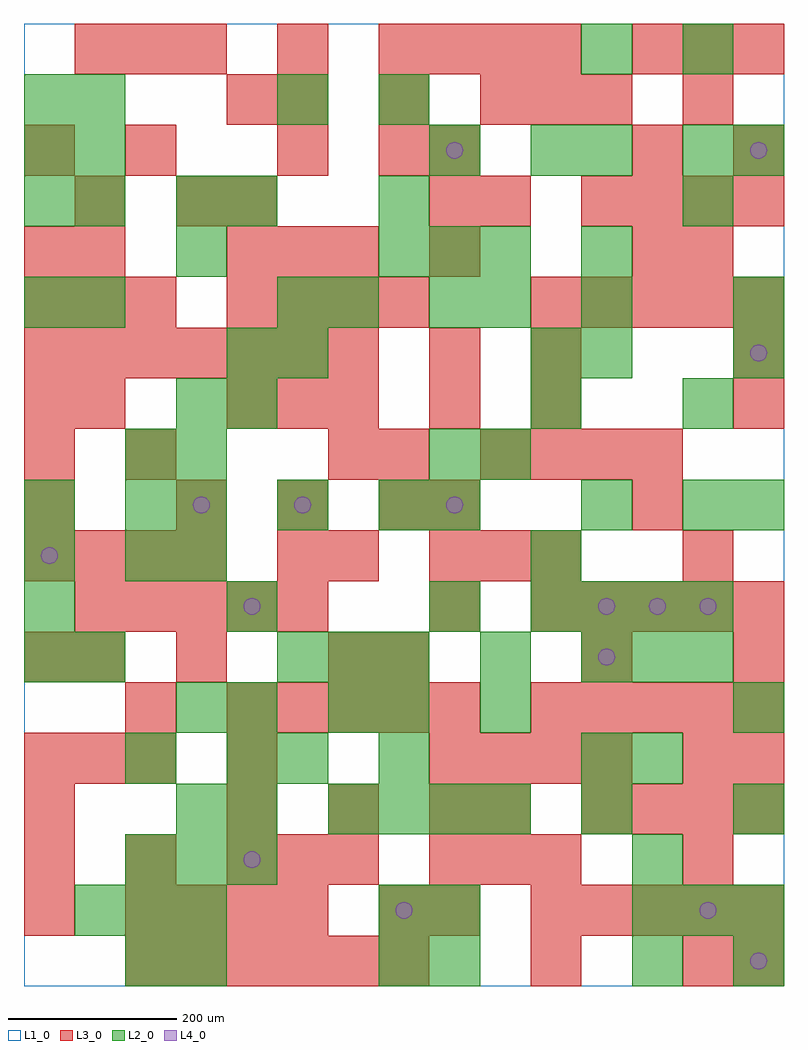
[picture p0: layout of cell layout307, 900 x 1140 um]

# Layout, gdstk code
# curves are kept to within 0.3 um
import gdstk
lib = gdstk.Library(unit=1e-6, precision=1e-09)
def R(c, l, rs):  # rectangles x0, y0, x1, y1
    for r in rs: c.add(gdstk.rectangle(r[:2], r[2:], *l))
def A(c, l, x, y, w, h, nx, ny, dx, dy):  # array of equal rectangles
    R(c, l, [(x+i*dx, y+j*dy, x+i*dx+w, y+j*dy+h) for i in range(nx) for j in range(ny)])
def P(c, l, *ps):  # polygons
    for p in ps: c.add(gdstk.Polygon(p, *l))
L1_0 = (1, 0)
L2_0 = (2, 0)
L3_0 = (3, 0)
L4_0 = (4, 0)

layout307 = lib.new_cell('layout307')
R(layout307, L1_0, [(0,0,900,1140)])
A(layout307, L2_0, 120, 0, 60, 60, 1, 3, 0, 240)
A(layout307, L2_0, 720, 0, 60, 60, 1, 3, 0, 120)
A(layout307, L2_0, 60, 60, 60, 60, 3, 1, 60, 0)
A(layout307, L2_0, 720, 60, 60, 60, 3, 1, 60, 0)
A(layout307, L2_0, 120, 120, 60, 60, 3, 1, 60, 0)
A(layout307, L2_0, 240, 180, 60, 60, 1, 3, 0, 60)
A(layout307, L2_0, 360, 180, 60, 60, 4, 1, 60, 0)
A(layout307, L2_0, 300, 360, 60, 60, 3, 1, 60, 0)
A(layout307, L2_0, 660, 360, 60, 60, 3, 1, 60, 0)
A(layout307, L2_0, 0, 420, 60, 60, 3, 1, 240, 0)
A(layout307, L2_0, 600, 420, 60, 60, 4, 1, 60, 0)
A(layout307, L2_0, 180, 540, 60, 60, 3, 1, 120, 0)
A(layout307, L2_0, 480, 600, 60, 60, 1, 3, 0, 180)
A(layout307, L2_0, 660, 720, 60, 60, 1, 3, 0, 60)
A(layout307, L2_0, 420, 840, 60, 60, 3, 1, 60, 0)
A(layout307, L2_0, 0, 900, 60, 60, 1, 3, 0, 60)
A(layout307, L2_0, 60, 900, 60, 60, 1, 3, 0, 60)
R(layout307, L2_0, [(180,0,240,60), (420,0,480,60), (480,0,540,60), (840,0,900,60), (420,60,480,120), (480,60,540,120), (180,180,240,240), (660,180,720,240), (840,180,900,240), (300,240,360,300), (420,240,480,300), (660,240,720,300), (180,300,240,360), (360,300,420,360), (420,300,480,360), (540,300,600,360), (840,300,900,360), (0,360,60,420), (60,360,120,420), (540,360,600,420), (0,480,60,540), (180,480,240,540), (600,480,660,540), (0,540,60,600), (120,540,180,600), (480,540,540,600), (660,540,720,600), (780,540,840,600), (840,540,900,600), (120,600,180,660), (180,600,240,660), (540,600,600,660), (180,660,240,720), (240,660,300,720), (600,660,660,720), (780,660,840,720), (240,720,300,780), (300,720,360,780), (600,720,660,780), (840,720,900,780), (0,780,60,840), (60,780,120,840), (300,780,360,840), (360,780,420,840), (540,780,600,840), (840,780,900,840), (180,840,240,900), (180,900,240,960), (240,900,300,960), (420,900,480,960), (780,900,840,960), (600,960,660,1020), (660,960,720,1020), (780,960,840,1020), (840,960,900,1020), (300,1020,360,1080), (420,1020,480,1080), (660,1080,720,1140), (780,1080,840,1140)])
A(layout307, L3_0, 120, 0, 60, 60, 6, 1, 60, 0)
A(layout307, L3_0, 780, 0, 60, 60, 1, 3, 0, 120)
A(layout307, L3_0, 120, 60, 60, 60, 4, 1, 60, 0)
A(layout307, L3_0, 600, 60, 60, 60, 5, 2, 60, 240)
A(layout307, L3_0, 0, 120, 60, 60, 3, 1, 120, 0)
A(layout307, L3_0, 480, 120, 60, 60, 3, 2, 60, 360)
A(layout307, L3_0, 0, 180, 60, 60, 1, 3, 0, 180)
A(layout307, L3_0, 240, 180, 60, 60, 3, 1, 120, 0)
A(layout307, L3_0, 660, 180, 60, 60, 4, 2, 60, 720)
A(layout307, L3_0, 0, 240, 60, 60, 3, 2, 60, 540)
A(layout307, L3_0, 480, 240, 60, 60, 4, 1, 60, 0)
A(layout307, L3_0, 240, 300, 60, 60, 5, 1, 60, 0)
A(layout307, L3_0, 360, 360, 60, 60, 1, 3, 0, 120)
A(layout307, L3_0, 60, 420, 60, 60, 5, 1, 60, 0)
A(layout307, L3_0, 480, 420, 60, 60, 1, 3, 0, 120)
A(layout307, L3_0, 600, 420, 60, 60, 5, 2, 60, 360)
A(layout307, L3_0, 0, 480, 60, 60, 4, 1, 60, 0)
A(layout307, L3_0, 180, 540, 60, 60, 3, 1, 120, 0)
A(layout307, L3_0, 540, 600, 60, 60, 4, 1, 60, 0)
A(layout307, L3_0, 240, 660, 60, 60, 3, 2, 60, 180)
A(layout307, L3_0, 0, 720, 60, 60, 7, 1, 60, 0)
A(layout307, L3_0, 240, 780, 60, 60, 4, 1, 60, 0)
A(layout307, L3_0, 480, 840, 60, 60, 1, 3, 0, 60)
A(layout307, L3_0, 300, 1020, 60, 60, 3, 1, 120, 0)
A(layout307, L3_0, 60, 1080, 60, 60, 3, 1, 60, 0)
A(layout307, L3_0, 420, 1080, 60, 60, 4, 1, 60, 0)
A(layout307, L3_0, 720, 1080, 60, 60, 3, 1, 60, 0)
R(layout307, L3_0, [(600,0,660,60), (840,0,900,60), (0,60,60,120), (420,60,480,120), (480,60,540,120), (300,120,360,180), (360,120,420,180), (540,180,600,240), (240,240,300,300), (840,240,900,300), (120,300,180,360), (60,360,120,420), (180,360,240,420), (420,360,480,420), (660,360,720,420), (840,360,900,420), (300,480,360,540), (780,480,840,540), (720,540,780,600), (0,600,60,660), (120,600,180,660), (420,600,480,660), (0,660,60,720), (60,660,120,720), (600,660,660,720), (840,660,900,720), (480,720,540,780), (600,720,660,780), (840,720,900,780), (0,840,60,900), (60,840,120,900), (720,840,780,900), (780,840,840,900), (60,900,120,960), (180,900,240,960), (240,900,300,960), (540,900,600,960), (0,960,60,1020), (120,960,180,1020), (300,960,360,1020), (420,960,480,1020), (720,960,780,1020), (840,960,900,1020), (240,1020,300,1080), (600,1020,660,1080), (660,1020,720,1080), (780,1020,840,1080), (300,1080,360,1140)])
P(layout307, L4_0, [(40,510),(39.239,513.827),(37.071,517.071),(33.827,519.239),(30,520),(26.173,519.239),(22.929,517.071),(20.761,513.827),(20,510),(20.761,506.173),(22.929,502.929),(26.173,500.761),(30,500),(33.827,500.761),(37.071,502.929),(39.239,506.173)],
  [(220,570),(219.239,573.827),(217.071,577.071),(213.827,579.239),(210,580),(206.173,579.239),(202.929,577.071),(200.761,573.827),(200,570),(200.761,566.173),(202.929,562.929),(206.173,560.761),(210,560),(213.827,560.761),(217.071,562.929),(219.239,566.173)],
  [(280,150),(279.239,153.827),(277.071,157.071),(273.827,159.239),(270,160),(266.173,159.239),(262.929,157.071),(260.761,153.827),(260,150),(260.761,146.173),(262.929,142.929),(266.173,140.761),(270,140),(273.827,140.761),(277.071,142.929),(279.239,146.173)],
  [(280,450),(279.239,453.827),(277.071,457.071),(273.827,459.239),(270,460),(266.173,459.239),(262.929,457.071),(260.761,453.827),(260,450),(260.761,446.173),(262.929,442.929),(266.173,440.761),(270,440),(273.827,440.761),(277.071,442.929),(279.239,446.173)],
  [(340,570),(339.239,573.827),(337.071,577.071),(333.827,579.239),(330,580),(326.173,579.239),(322.929,577.071),(320.761,573.827),(320,570),(320.761,566.173),(322.929,562.929),(326.173,560.761),(330,560),(333.827,560.761),(337.071,562.929),(339.239,566.173)],
  [(460,90),(459.239,93.827),(457.071,97.071),(453.827,99.239),(450,100),(446.173,99.239),(442.929,97.071),(440.761,93.827),(440,90),(440.761,86.173),(442.929,82.929),(446.173,80.761),(450,80),(453.827,80.761),(457.071,82.929),(459.239,86.173)],
  [(520,570),(519.239,573.827),(517.071,577.071),(513.827,579.239),(510,580),(506.173,579.239),(502.929,577.071),(500.761,573.827),(500,570),(500.761,566.173),(502.929,562.929),(506.173,560.761),(510,560),(513.827,560.761),(517.071,562.929),(519.239,566.173)],
  [(520,990),(519.239,993.827),(517.071,997.071),(513.827,999.239),(510,1000),(506.173,999.239),(502.929,997.071),(500.761,993.827),(500,990),(500.761,986.173),(502.929,982.929),(506.173,980.761),(510,980),(513.827,980.761),(517.071,982.929),(519.239,986.173)],
  [(700,390),(699.239,393.827),(697.071,397.071),(693.827,399.239),(690,400),(686.173,399.239),(682.929,397.071),(680.761,393.827),(680,390),(680.761,386.173),(682.929,382.929),(686.173,380.761),(690,380),(693.827,380.761),(697.071,382.929),(699.239,386.173)],
  [(700,450),(699.239,453.827),(697.071,457.071),(693.827,459.239),(690,460),(686.173,459.239),(682.929,457.071),(680.761,453.827),(680,450),(680.761,446.173),(682.929,442.929),(686.173,440.761),(690,440),(693.827,440.761),(697.071,442.929),(699.239,446.173)],
  [(760,450),(759.239,453.827),(757.071,457.071),(753.827,459.239),(750,460),(746.173,459.239),(742.929,457.071),(740.761,453.827),(740,450),(740.761,446.173),(742.929,442.929),(746.173,440.761),(750,440),(753.827,440.761),(757.071,442.929),(759.239,446.173)],
  [(820,90),(819.239,93.827),(817.071,97.071),(813.827,99.239),(810,100),(806.173,99.239),(802.929,97.071),(800.761,93.827),(800,90),(800.761,86.173),(802.929,82.929),(806.173,80.761),(810,80),(813.827,80.761),(817.071,82.929),(819.239,86.173)],
  [(820,450),(819.239,453.827),(817.071,457.071),(813.827,459.239),(810,460),(806.173,459.239),(802.929,457.071),(800.761,453.827),(800,450),(800.761,446.173),(802.929,442.929),(806.173,440.761),(810,440),(813.827,440.761),(817.071,442.929),(819.239,446.173)],
  [(880,30),(879.239,33.827),(877.071,37.071),(873.827,39.239),(870,40),(866.173,39.239),(862.929,37.071),(860.761,33.827),(860,30),(860.761,26.173),(862.929,22.929),(866.173,20.761),(870,20),(873.827,20.761),(877.071,22.929),(879.239,26.173)],
  [(880,750),(879.239,753.827),(877.071,757.071),(873.827,759.239),(870,760),(866.173,759.239),(862.929,757.071),(860.761,753.827),(860,750),(860.761,746.173),(862.929,742.929),(866.173,740.761),(870,740),(873.827,740.761),(877.071,742.929),(879.239,746.173)],
  [(880,990),(879.239,993.827),(877.071,997.071),(873.827,999.239),(870,1000),(866.173,999.239),(862.929,997.071),(860.761,993.827),(860,990),(860.761,986.173),(862.929,982.929),(866.173,980.761),(870,980),(873.827,980.761),(877.071,982.929),(879.239,986.173)])

lib.write_gds('layout307.gds')
